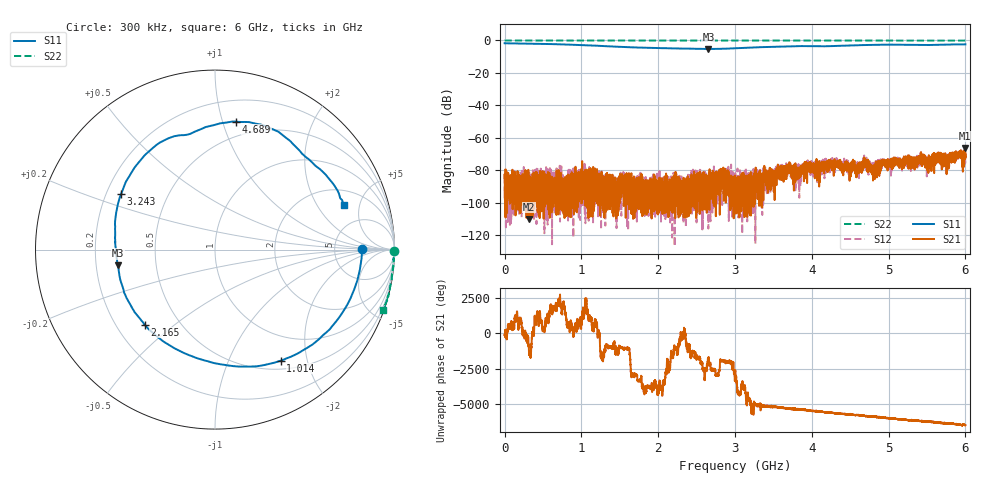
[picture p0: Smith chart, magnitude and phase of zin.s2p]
!  8/10/2020  02:00:48
! Ref Plane: 0.000 mm
# MHZ S MA R  50
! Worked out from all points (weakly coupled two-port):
!   10001 points, 300 kHz to 6 GHz, reference 50 ohm
!   highest |S21| = -66.20 dB at 5.994 GHz (marker M1); lowest = -110.0 dB at 322.5 MHz (marker M2)
!   lowest |S11| = -5.2 dB at 2.655 GHz (marker M3), VSWR 3.42, Z = 14.7 - j3.72 ohm
!   |S11| at or under -10 dB: nowhere
!   |S22| runs from -0.1 to 0.0 dB; largest |S21 - S12| = 0.00024
!   S11 on the Smith chart (normalised r, x): 300 kHz: 10, +0; 1.014 GHz: 0.62, -1.58; 2.165 GHz: 0.32, -0.40; 3.243 GHz: 0.26, +0.26; 4.689 GHz: 0.37, +1.11; 6 GHz: 3.07, +3.55
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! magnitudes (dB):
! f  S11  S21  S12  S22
! 300 kHz  -1.7  -84.6  -83.9  0.0
! 322.5 MHz  -1.9  -110.0  -89.2  0.0
! 1 GHz  -2.8  -83.5  -92.3  0.0
! 1.014 GHz  -2.9  -85.4  -89.7  0.0
! 2.001 GHz  -4.7  -89.0  -97.6  0.0
! 2.165 GHz  -4.8  -87.5  -89.6  0.0
! 2.655 GHz  -5.2  -95.6  -86.2  0.0
! 3 GHz  -4.8  -83.7  -88.3  0.0
! 3.243 GHz  -4.3  -93.9  -97.4  0.0
! 4 GHz  -3.6  -80.1  -75.2  0.0
! 4.328 GHz  -3.3  -77.3  -74.0  0.0
! 4.585 GHz  -3.0  -80.0  -78.3  0.0
! 4.689 GHz  -2.8  -76.0  -75.0  0.0
! 4.803 GHz  -2.7  -79.9  -77.6  0.0
! 5 GHz  -2.6  -75.5  -76.2  0.0
! 5.446 GHz  -2.8  -71.3  -73.8  0.0
! 5.523 GHz  -2.8  -77.4  -77.5  0.0
! 5.617 GHz  -2.7  -72.5  -70.2  0.0
! 5.708 GHz  -2.6  -70.9  -71.6  0.0
! 5.921 GHz  -2.4  -69.6  -69.1  -0.1
! 5.994 GHz  -2.4  -66.2  -70.5  -0.1
! 6 GHz  -2.4  -72.0  -69.4  -0.1
